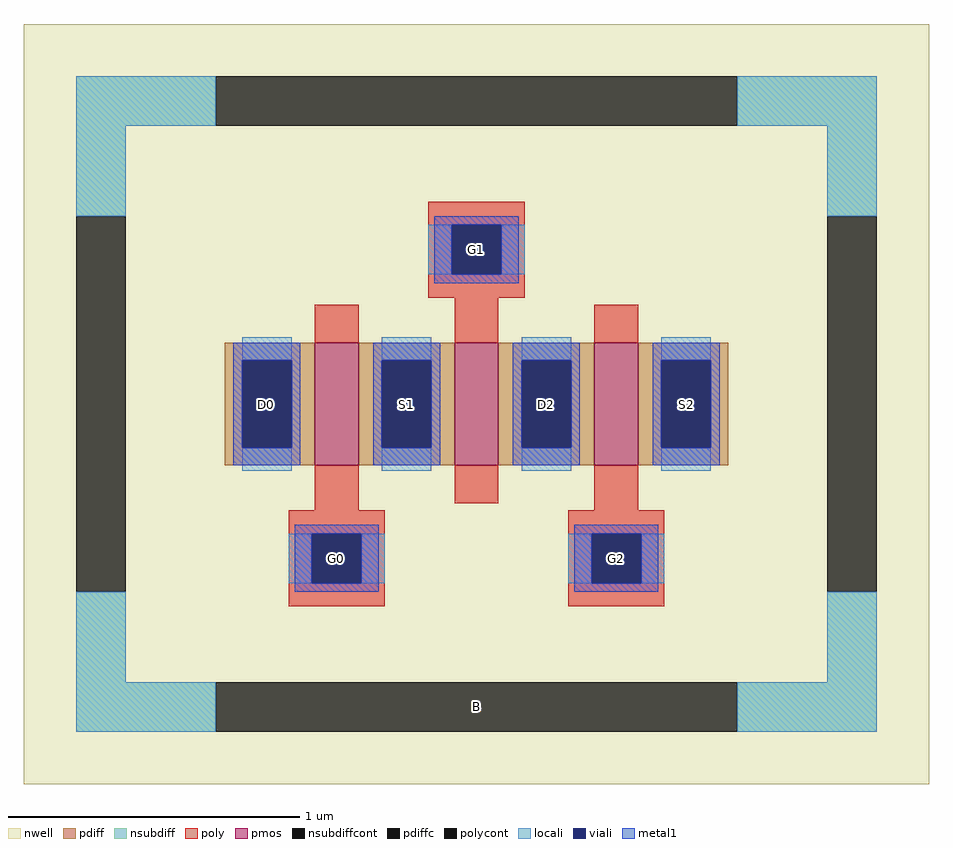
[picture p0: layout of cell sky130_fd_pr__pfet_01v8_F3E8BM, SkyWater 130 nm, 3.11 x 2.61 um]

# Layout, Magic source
magic
tech sky130A
magscale 1 2
<< nwell >>
rect -311 -261 311 261
<< pmos >>
rect -111 -42 -81 42
rect -15 -42 15 42
rect 81 -42 111 42
<< pdiff >>
rect -173 30 -111 42
rect -173 -30 -161 30
rect -127 -30 -111 30
rect -173 -42 -111 -30
rect -81 30 -15 42
rect -81 -30 -65 30
rect -31 -30 -15 30
rect -81 -42 -15 -30
rect 15 30 81 42
rect 15 -30 31 30
rect 65 -30 81 30
rect 15 -42 81 -30
rect 111 30 173 42
rect 111 -30 127 30
rect 161 -30 173 30
rect 111 -42 173 -30
<< pdiffc >>
rect -161 -30 -127 30
rect -65 -30 -31 30
rect 31 -30 65 30
rect 127 -30 161 30
<< nsubdiff >>
rect -275 191 -179 225
rect 179 191 275 225
rect -275 129 -241 191
rect 241 129 275 191
rect -275 -191 -241 -129
rect 241 -191 275 -129
rect -275 -225 -179 -191
rect 179 -225 275 -191
<< nsubdiffcont >>
rect -179 191 179 225
rect -275 -129 -241 129
rect 241 -129 275 129
rect -179 -225 179 -191
<< poly >>
rect -33 123 33 139
rect -33 89 -17 123
rect 17 89 33 123
rect -33 73 33 89
rect -111 42 -81 68
rect -15 42 15 73
rect 81 42 111 68
rect -111 -73 -81 -42
rect -15 -68 15 -42
rect 81 -73 111 -42
rect -129 -89 -63 -73
rect -129 -123 -113 -89
rect -79 -123 -63 -89
rect -129 -139 -63 -123
rect 63 -89 129 -73
rect 63 -123 79 -89
rect 113 -123 129 -89
rect 63 -139 129 -123
<< polycont >>
rect -17 89 17 123
rect -113 -123 -79 -89
rect 79 -123 113 -89
<< locali >>
rect -275 191 -179 225
rect 179 191 275 225
rect -275 129 -241 191
rect 241 129 275 191
rect -33 89 -17 123
rect 17 89 33 123
rect -161 30 -127 46
rect -161 -46 -127 -30
rect -65 30 -31 46
rect -65 -46 -31 -30
rect 31 30 65 46
rect 31 -46 65 -30
rect 127 30 161 46
rect 127 -46 161 -30
rect -129 -123 -113 -89
rect -79 -123 -63 -89
rect 63 -123 79 -89
rect 113 -123 129 -89
rect -275 -191 -241 -129
rect 241 -191 275 -129
rect -275 -225 -179 -191
rect 179 -225 275 -191
<< viali >>
rect -17 89 17 123
rect -161 -30 -127 30
rect -65 -30 -31 30
rect 31 -30 65 30
rect 127 -30 161 30
rect -113 -123 -79 -89
rect 79 -123 113 -89
<< metal1 >>
rect -29 123 29 129
rect -29 89 -17 123
rect 17 89 29 123
rect -29 83 29 89
rect -167 30 -121 42
rect -167 -30 -161 30
rect -127 -30 -121 30
rect -167 -42 -121 -30
rect -71 30 -25 42
rect -71 -30 -65 30
rect -31 -30 -25 30
rect -71 -42 -25 -30
rect 25 30 71 42
rect 25 -30 31 30
rect 65 -30 71 30
rect 25 -42 71 -30
rect 121 30 167 42
rect 121 -30 127 30
rect 161 -30 167 30
rect 121 -42 167 -30
rect -125 -89 -67 -83
rect -125 -123 -113 -89
rect -79 -123 -67 -89
rect -125 -129 -67 -123
rect 67 -89 125 -83
rect 67 -123 79 -89
rect 113 -123 125 -89
rect 67 -129 125 -123
<< labels >>
rlabel nsubdiffcont 0 -208 0 -208 0 B
port 1 nsew
rlabel pdiffc -144 0 -144 0 0 D0
port 2 nsew
rlabel polycont -96 -106 -96 -106 0 G0
port 3 nsew
rlabel pdiffc -48 0 -48 0 0 S1
port 4 nsew
rlabel polycont 0 106 0 106 0 G1
port 5 nsew
rlabel pdiffc 48 0 48 0 0 D2
port 6 nsew
rlabel pdiffc 144 0 144 0 0 S2
port 7 nsew
rlabel polycont 96 -106 96 -106 0 G2
port 8 nsew
<< properties >>
string FIXED_BBOX -258 -208 258 208
string gencell sky130_fd_pr__pfet_01v8
string library sky130
string parameters w 0.42 l 0.15 m 1 nf 3 diffcov 100 polycov 100 guard 1 glc 1 grc 1 gtc 1 gbc 1 tbcov 100 rlcov 100 topc 1 botc 1 poverlap 0 doverlap 1 lmin 0.15 wmin 0.42 class mosfet compatible {sky130_fd_pr__pfet_01v8  sky130_fd_pr__pfet_01v8_lvt sky130_fd_pr__pfet_01v8_hvt  sky130_fd_pr__pfet_g5v0d10v5} full_metal 1 conn_gates 0 viasrc 100 viadrn 100 viagate 100 viagb 0 viagr 0 viagl 0 viagt 0 doports 1
<< end >>
